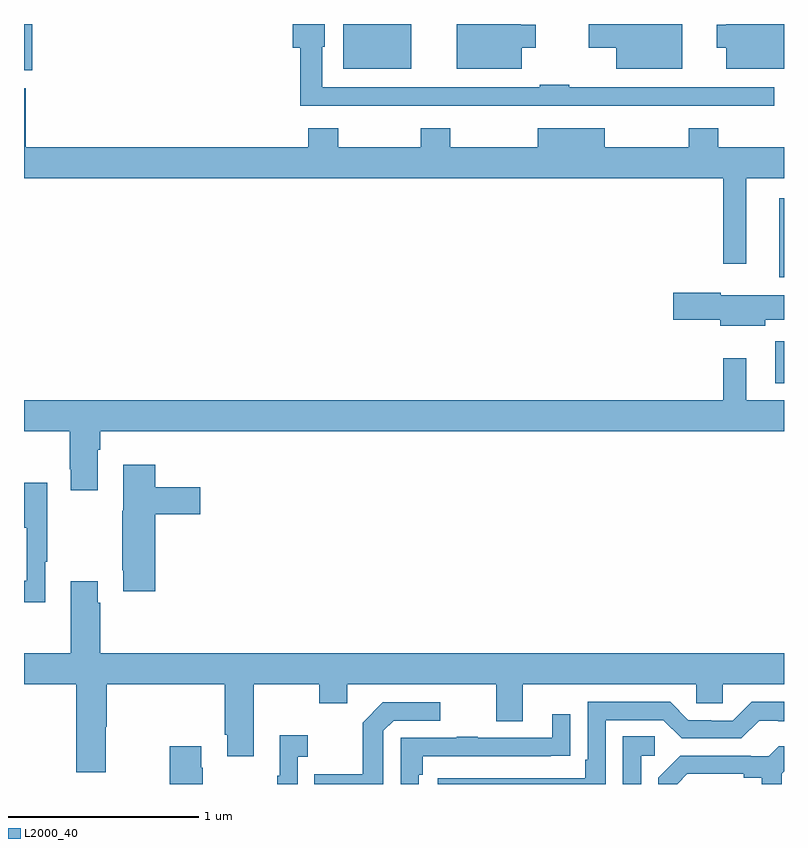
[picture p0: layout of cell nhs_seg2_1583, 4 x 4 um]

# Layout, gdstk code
import gdstk
lib = gdstk.Library(unit=1e-6, precision=1e-09)
def R(c, l, rs):  # rectangles x0, y0, x1, y1
    for r in rs: c.add(gdstk.rectangle(r[:2], r[2:], *l))
def P(c, l, *ps):  # polygons
    for p in ps: c.add(gdstk.Polygon(p, *l))
L2000_40 = (2000, 40)

nhs_seg2_1583 = lib.new_cell('nhs_seg2_1583')
R(nhs_seg2_1583, L2000_40, [(196.955,627.909,197,628.129), (196.976,628.466,197,628.882), (193,629.556,193.043,629.8), (194.681,629.564,195.037,629.8)])
P(nhs_seg2_1583, L2000_40, [(197,629.8),(196.697,629.8),(196.697,629.797),(196.646,629.797),(196.646,629.675),(196.697,629.675),(196.697,629.564),(197,629.564)],
  [(196.465,629.8),(195.972,629.8),(195.972,629.675),(196.118,629.675),(196.118,629.564),(196.465,629.564)],
  [(194.999,629.37),(195.331,629.37),(195.331,629.369),(195.608,629.369),(195.608,629.37),(196.153,629.37),(196.153,629.369),(196.409,629.369),(196.409,629.37),(196.948,629.37),(196.948,629.466),(196.022,629.466),(196.022,629.468),(195.869,629.468),(195.869,629.479),(195.715,629.479),(195.715,629.466),(194.571,629.466),(194.571,629.679),(194.584,629.679),(194.584,629.8),(194.414,629.8),(194.414,629.675),(194.455,629.675),(194.455,629.37),(194.743,629.37),(194.743,629.369),(194.999,629.369)],
  [(195.619,629.675),(195.694,629.675),(195.694,629.797),(195.615,629.797),(195.615,629.8),(195.278,629.8),(195.278,629.564),(195.619,629.564)],
  [(196.801,628.988),(197,628.988),(197,629.152),(196.653,629.152),(196.653,629.251),(196.498,629.251),(196.498,629.152),(196.057,629.152),(196.057,629.251),(195.704,629.251),(195.704,629.152),(195.243,629.152),(195.243,629.251),(195.088,629.251),(195.088,629.152),(194.655,629.152),(194.655,629.251),(194.495,629.251),(194.495,629.152),(193.01,629.152),(193.01,629.461),(193,629.461),(193,628.988),(196.68,628.988),(196.68,628.539),(196.801,628.539)],
  [(196.9,628.243),(197,628.243),(197,628.372),(196.668,628.372),(196.668,628.385),(196.416,628.385),(196.416,628.243),(196.664,628.243),(196.664,628.211),(196.9,628.211)],
  [(193.387,627.56),(193.4,627.56),(193.4,627.656),(197,627.656),(197,627.82),(196.801,627.82),(196.801,628.042),(196.68,628.042),(196.68,627.82),(193,627.82),(193,627.656),(193.24,627.656),(193.24,627.457),(193.247,627.457),(193.247,627.345),(193.387,627.345)],
  [(193.691,627.221),(193.927,627.221),(193.927,627.363),(193.691,627.363),(193.691,627.481),(193.523,627.481),(193.523,627.237),(193.516,627.237),(193.516,626.926),(193.523,626.926),(193.523,626.814),(193.691,626.814)],
  [(193.111,626.969),(193.123,626.969),(193.123,627.385),(193,627.385),(193,627.245),(193.002,627.245),(193.002,627.149),(193.014,627.149),(193.014,626.87),(193,626.87),(193,626.757),(193.111,626.757)],
  [(193.431,626.102),(193.436,626.102),(193.436,626.324),(194.057,626.324),(194.057,626.059),(194.069,626.059),(194.069,625.947),(194.209,625.947),(194.209,626.324),(194.554,626.324),(194.554,626.225),(194.701,626.225),(194.701,626.324),(195.485,626.324),(195.485,626.13),(195.625,626.13),(195.625,626.324),(196.539,626.324),(196.539,626.226),(196.677,626.226),(196.677,626.324),(197,626.324),(197,626.488),(193.4,626.488),(193.4,626.753),(193.387,626.753),(193.387,626.866),(193.247,626.866),(193.247,626.488),(193,626.488),(193,626.324),(193.276,626.324),(193.276,625.863),(193.431,625.863)],
  [(196.062,626.136),(196.365,626.136),(196.461,626.04),(196.776,626.04),(196.869,626.133),(196.969,626.133),(196.969,626.129),(197,626.129),(197,626.233),(196.831,626.233),(196.731,626.133),(196.616,626.133),(196.616,626.136),(196.497,626.136),(196.401,626.232),(195.966,626.232),(195.966,625.927),(195.953,625.927),(195.953,625.83),(195.177,625.83),(195.177,625.8),(196.062,625.8)],
  [(194.892,626.079),(194.946,626.133),(195.19,626.133),(195.19,626.229),(194.889,626.229),(194.784,626.123),(194.784,625.851),(194.527,625.851),(194.527,625.8),(194.892,625.8)],
  [(195.078,625.85),(195.098,625.85),(195.098,625.947),(195.773,625.947),(195.773,625.948),(195.875,625.948),(195.875,626.167),(195.779,626.167),(195.779,626.043),(195.389,626.043),(195.389,626.048),(195.277,626.048),(195.277,626.043),(194.982,626.043),(194.982,625.8),(195.078,625.8)],
  [(194.442,625.943),(194.494,625.943),(194.494,626.056),(194.345,626.056),(194.345,625.843),(194.334,625.843),(194.334,625.8),(194.442,625.8)],
  [(196.248,625.95),(196.321,625.95),(196.321,626.051),(196.152,626.051),(196.152,625.8),(196.248,625.8)],
  [(193.941,625.886),(193.933,625.886),(193.933,625.999),(193.766,625.999),(193.766,625.8),(193.941,625.8)],
  [(196.492,625.854),(196.787,625.854),(196.787,625.832),(196.883,625.832),(196.883,625.8),(196.987,625.8),(196.987,625.855),(197,625.868),(197,625.999),(196.972,625.999),(196.92,625.947),(196.826,625.947),(196.826,625.95),(196.454,625.95),(196.338,625.834),(196.338,625.8),(196.438,625.8)])

lib.write_gds('nhs_seg2_1583.gds')
